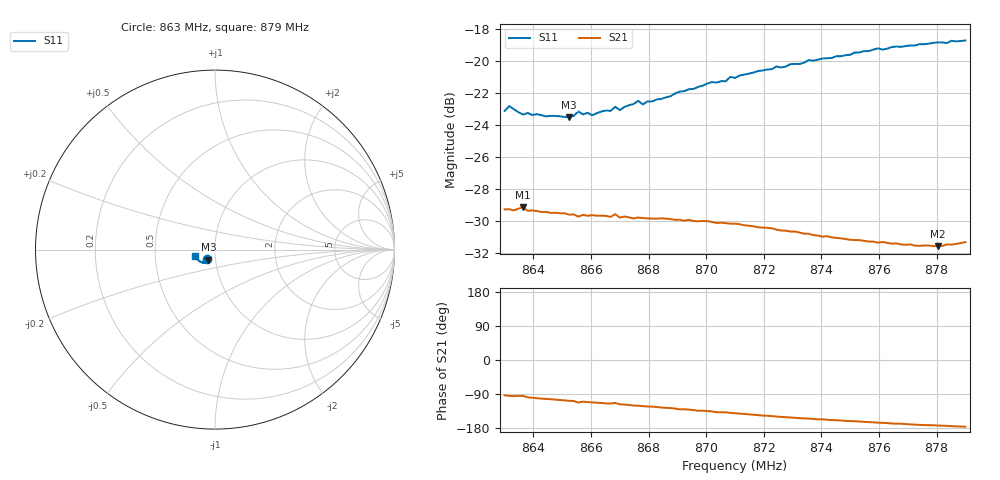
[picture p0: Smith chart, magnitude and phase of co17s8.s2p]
# HZ S RI R 50
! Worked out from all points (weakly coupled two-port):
!   101 points, 863 MHz to 879 MHz, reference 50 ohm
!   highest |S21| = -29.15 dB at 863.64 MHz (marker M1); lowest = -31.6 dB at 878.04 MHz (marker M2)
!   lowest |S11| = -23.5 dB at 865.24 MHz (marker M3), VSWR 1.14, Z = 46.2 - j5.19 ohm
!   |S11| at or under -10 dB: start of sweep to end of sweep
!   S12 and S22 are empty: the file has one direction only
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8.63e8  -0.0437 -0.0544  -0.00203 -0.0343  0 0  0 0
8.6316e8  -0.0479 -0.0541  -0.00272 -0.0342  0 0  0 0
8.6364e8  -0.0382 -0.0562  -0.00286 -0.0348  0 0  0 0
8.638e8  -0.0419 -0.0545  -0.00505 -0.0336  0 0  0 0
8.6524e8  -0.0364 -0.0559  -0.01 -0.0315  0 0  0 0
8.6556e8  -0.0395 -0.0572  -0.0124 -0.0301  0 0  0 0
8.6572e8  -0.0352 -0.0582  -0.0112 -0.031  0 0  0 0
8.6588e8  -0.0359 -0.0587  -0.0118 -0.0306  0 0  0 0
8.6604e8  -0.0344 -0.0582  -0.0122 -0.0305  0 0  0 0
8.6668e8  -0.0344 -0.0607  -0.0137 -0.0295  0 0  0 0
8.6684e8  -0.0346 -0.063  -0.013 -0.0305  0 0  0 0
8.67e8  -0.0348 -0.061  -0.0146 -0.0288  0 0  0 0
8.6764e8  -0.0372 -0.0652  -0.0164 -0.0279  0 0  0 0
8.678e8  -0.0361 -0.0636  -0.017 -0.0274  0 0  0 0
8.6844e8  -0.0379 -0.0659  -0.0186 -0.0262  0 0  0 0
8.702e8  -0.0452 -0.0731  -0.0225 -0.0218  0 0  0 0
8.71e8  -0.0495 -0.0734  -0.0239 -0.0197  0 0  0 0
8.7244e8  -0.062 -0.0735  -0.0255 -0.0152  0 0  0 0
8.7372e8  -0.0693 -0.0724  -0.026 -0.0118  0 0  0 0
8.7644e8  -0.093 -0.06  -0.0262 -0.00578  0 0  0 0
8.7804e8  -0.1039 -0.0478  -0.0261 -0.00321  0 0  0 0
8.79e8  -0.1098 -0.0374  -0.027 -0.0018  0 0  0 0
